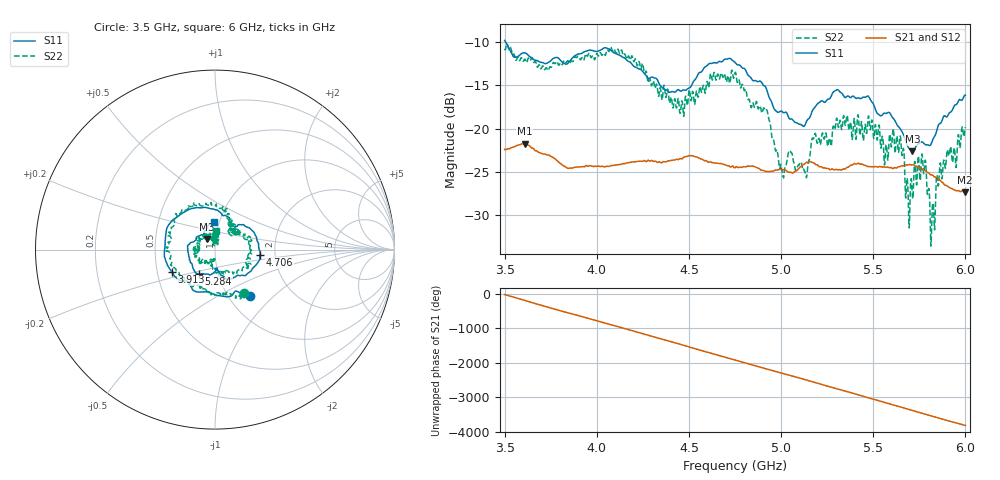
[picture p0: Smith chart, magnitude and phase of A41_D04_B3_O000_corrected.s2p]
! Created with skrf 1.9.0 (http://scikit-rf.org).
# Hz S RI R 50.0
!freq ReS11 ImS11 ReS21 ImS21 ReS12 ImS12 ReS22 ImS22
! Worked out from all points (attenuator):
!   1601 points, 3.5 GHz to 6 GHz, reference 50 ohm
!   highest |S21| = -21.72 dB at 3.609 GHz (marker M1); lowest = -27.3 dB at 5.995 GHz (marker M2)
!   lowest |S11| = -22.6 dB at 5.713 GHz (marker M3), VSWR 1.16, Z = 45.4 + j5.4 ohm
!   |S11| at or under -10 dB: 3.506 GHz to end of sweep
!   |S22| runs from -33.5 to -10.2 dB; largest |S21 - S12| = 0.00097
!   S11 on the Smith chart (normalised r, x): 3.5 GHz: 1.26, -0.72; 3.913 GHz: 0.60, -0.16; 4.706 GHz: 1.66, -0.11; 5.284 GHz: 0.81, -0.23; 6 GHz: 0.94, +0.30
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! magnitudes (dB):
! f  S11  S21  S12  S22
! 3.5 GHz  -9.8  -22.4  -22.3  -10.8
! 3.609 GHz  -11.2  -21.7  -21.7  -12.0
! 3.913 GHz  -11.3  -24.4  -24.3  -12.0
! 3.917 GHz  -11.3  -24.4  -24.3  -11.8
! 4.125 GHz  -11.5  -24.1  -24.1  -11.3
! 4.334 GHz  -14.6  -23.8  -23.8  -16.2
! 4.463 GHz  -15.6  -23.5  -23.4  -16.8
! 4.706 GHz  -12.0  -24.2  -24.2  -14.4
! 4.75 GHz  -12.3  -24.5  -24.4  -13.5
! 4.919 GHz  -15.3  -24.9  -24.9  -17.8
! 5.005 GHz  -18.0  -24.7  -24.7  -24.8
! 5.131 GHz  -19.5  -24.0  -23.9  -25.1
! 5.167 GHz  -18.0  -23.9  -23.8  -21.2
! 5.284 GHz  -15.7  -24.7  -24.6  -19.7
! 5.584 GHz  -18.1  -24.5  -24.4  -21.9
! 5.688 GHz  -22.0  -24.2  -24.1  -26.8
! 5.713 GHz  -22.6  -24.2  -24.1  -27.7
! 5.773 GHz  -21.7  -24.8  -24.7  -25.2
! 5.822 GHz  -21.3  -25.3  -25.3  -28.6
! 5.855 GHz  -19.5  -25.8  -25.7  -26.4
! 5.995 GHz  -16.1  -27.3  -27.2  -20.5
! 6 GHz  -16.1  -27.3  -27.2  -19.8
